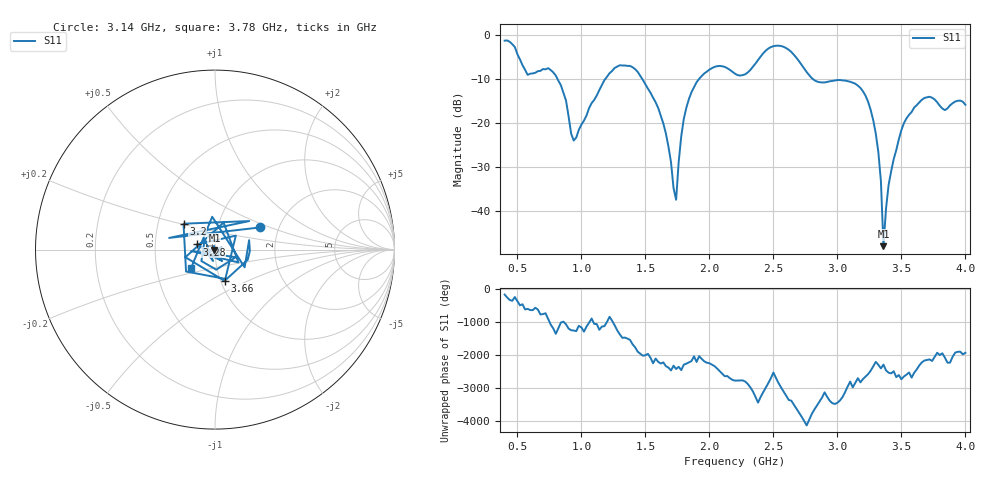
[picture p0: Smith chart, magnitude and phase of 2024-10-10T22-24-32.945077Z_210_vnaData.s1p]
! Created with skrf (http://scikit-rf.org).
# Hz S RI R 50.0
!freq ReS11 ImS11
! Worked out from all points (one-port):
!   181 points, 400 MHz to 4 GHz, reference 50 ohm
!   lowest |S11| = -48.1 dB at 3.36 GHz (marker M1), VSWR 1.01, Z = 49.7 - j0.235 ohm
!   |S11| at or under -10 dB: 812.3 MHz to 1.188 GHz (375.7 MHz wide, 37.6 % of centre); 1.474 GHz to 1.921 GHz (446.2 MHz wide, 26.3 % of centre); 2.806 GHz to end of sweep
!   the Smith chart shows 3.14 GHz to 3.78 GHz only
!   S11 on the Smith chart (normalised r, x): 3.14 GHz: 1.59, +0.42; 3.2 GHz: 0.68, +0.21; 3.28 GHz: 0.81, +0.05; 3.66 GHz: 1.04, -0.38; 3.78 GHz: 0.75, -0.16
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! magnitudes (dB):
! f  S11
! 400 MHz  -1.3
! 580 MHz  -9.1
! 740 MHz  -7.6
! 860 MHz  -13.3
! 940 MHz  -24.1
! 1.3 GHz  -6.9
! 1.44 GHz  -8.4
! 1.6 GHz  -16.7
! 1.68 GHz  -25.4
! 1.74 GHz  -37.5
! 1.76 GHz  -28.9
! 1.8 GHz  -19.1
! 1.9 GHz  -10.8
! 2.2 GHz  -8.9
! 2.5 GHz  -2.6
! 2.66 GHz  -4.5
! 2.84 GHz  -10.6
! 3.1 GHz  -10.7
! 3.14 GHz  -11.1
! 3.2 GHz  -12.9
! 3.28 GHz  -19.4
! 3.34 GHz  -33.3
! 3.36 GHz  -48.1
! 3.42 GHz  -31.1
! 3.56 GHz  -18.2
! 3.66 GHz  -14.8
! 3.78 GHz  -15.4
! 4 GHz  -15.9
